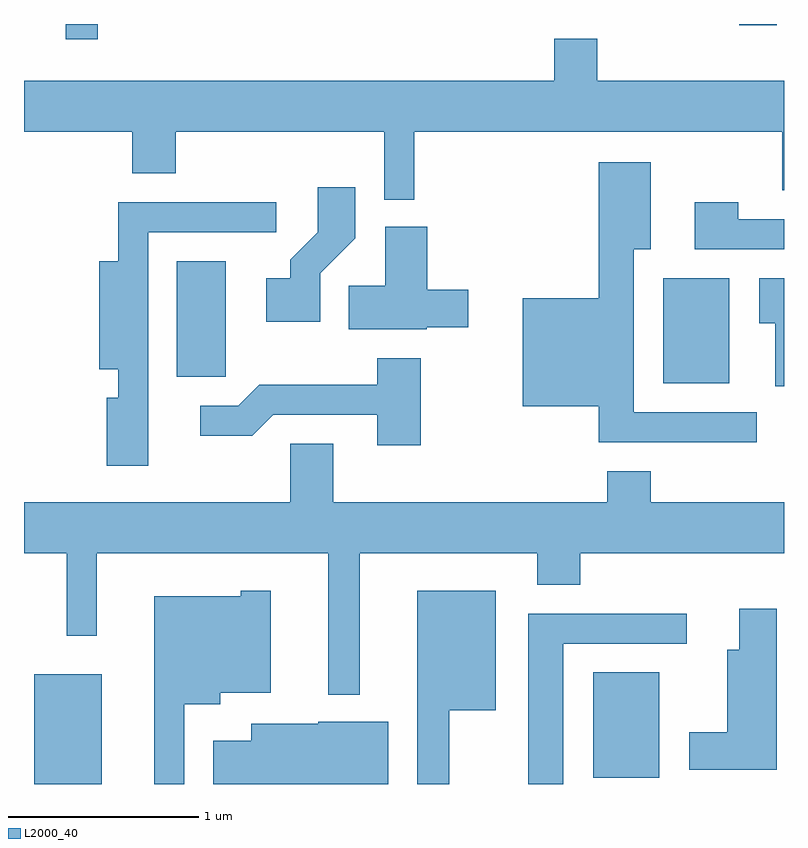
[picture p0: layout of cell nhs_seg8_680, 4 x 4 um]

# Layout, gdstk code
import gdstk
lib = gdstk.Library(unit=1e-6, precision=1e-09)
def R(c, l, rs):  # rectangles x0, y0, x1, y1
    for r in rs: c.add(gdstk.rectangle(r[:2], r[2:], *l))
def P(c, l, *ps):  # polygons
    for p in ps: c.add(gdstk.Polygon(p, *l))
L2000_40 = (2000, 40)

nhs_seg8_680 = lib.new_cell('nhs_seg8_680')
R(nhs_seg8_680, L2000_40, [(205.666,1806.342,206.019,1806.919), (208.606,1806.376,208.954,1806.929), (208.976,1808.451,209.324,1809.004), (206.416,1808.486,206.674,1809.094), (205.831,1810.263,205.999,1810.342), (209.376,1810.336,209.574,1810.342)])
P(nhs_seg8_680, L2000_40, [(207.664,1809.776),(209.601,1809.776),(209.601,1809.466),(209.611,1809.466),(209.611,1810.044),(208.629,1810.044),(208.629,1810.264),(208.401,1810.264),(208.401,1810.044),(205.611,1810.044),(205.611,1809.776),(206.181,1809.776),(206.181,1809.556),(206.409,1809.556),(206.409,1809.776),(207.506,1809.776),(207.506,1809.418),(207.664,1809.418)],
  [(209.468,1808.299),(208.819,1808.299),(208.819,1809.156),(208.909,1809.156),(208.909,1809.614),(208.636,1809.614),(208.636,1808.899),(208.236,1808.899),(208.236,1808.331),(208.636,1808.331),(208.636,1808.141),(209.468,1808.141)],
  [(207.169,1809.029),(207.354,1809.214),(207.354,1809.484),(207.156,1809.484),(207.156,1809.247),(207.011,1809.102),(207.011,1809.004),(206.886,1809.004),(206.886,1808.776),(207.169,1808.776)],
  [(209.611,1809.314),(209.369,1809.314),(209.369,1809.404),(209.141,1809.404),(209.141,1809.156),(209.611,1809.156)],
  [(206.264,1809.246),(206.938,1809.246),(206.938,1809.404),(206.106,1809.404),(206.106,1809.094),(206.006,1809.094),(206.006,1808.526),(206.106,1808.526),(206.106,1808.374),(206.046,1808.374),(206.046,1808.016),(206.264,1808.016)],
  [(207.73,1808.746),(207.949,1808.746),(207.949,1808.944),(207.734,1808.944),(207.734,1809.274),(207.511,1809.274),(207.511,1808.964),(207.321,1808.964),(207.321,1808.736),(207.73,1808.736)],
  [(209.611,1809.004),(209.481,1809.004),(209.481,1808.766),(209.566,1808.766),(209.566,1808.436),(209.611,1808.436)],
  [(207.699,1808.584),(207.471,1808.584),(207.471,1808.444),(206.849,1808.444),(206.739,1808.334),(206.538,1808.334),(206.538,1808.176),(206.812,1808.176),(206.922,1808.286),(207.471,1808.286),(207.471,1808.126),(207.699,1808.126)],
  [(207.379,1807.556),(208.311,1807.556),(208.311,1807.391),(208.539,1807.391),(208.539,1807.556),(209.611,1807.556),(209.611,1807.824),(208.909,1807.824),(208.909,1807.989),(208.681,1807.989),(208.681,1807.824),(207.239,1807.824),(207.239,1808.134),(207.011,1808.134),(207.011,1807.824),(205.611,1807.824),(205.611,1807.556),(205.836,1807.556),(205.836,1807.123),(205.994,1807.123),(205.994,1807.556),(207.211,1807.556),(207.211,1806.813),(207.379,1806.813)],
  [(207.849,1806.731),(208.094,1806.731),(208.094,1807.359),(207.681,1807.359),(207.681,1806.342),(207.849,1806.342)],
  [(206.454,1806.761),(206.644,1806.761),(206.644,1806.821),(206.909,1806.821),(206.909,1807.359),(206.751,1807.359),(206.751,1807.329),(206.296,1807.329),(206.296,1806.342),(206.454,1806.342)],
  [(209.574,1807.264),(209.376,1807.264),(209.376,1807.049),(209.311,1807.049),(209.311,1806.614),(209.111,1806.614),(209.111,1806.416),(209.574,1806.416)],
  [(208.449,1807.081),(209.098,1807.081),(209.098,1807.239),(208.266,1807.239),(208.266,1806.342),(208.449,1806.342)],
  [(207.529,1806.669),(207.16,1806.669),(207.16,1806.659),(206.806,1806.659),(206.806,1806.569),(206.606,1806.569),(206.606,1806.342),(207.529,1806.342)])

lib.write_gds('nhs_seg8_680.gds')
